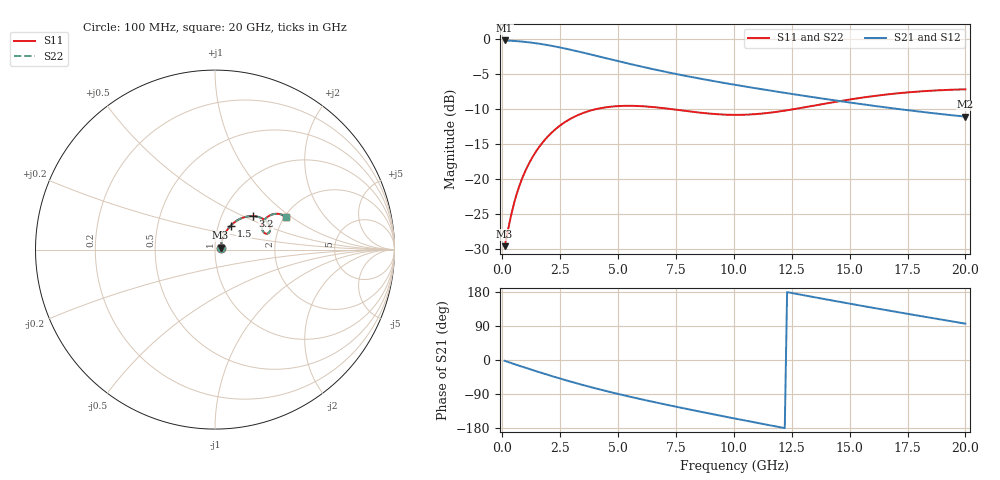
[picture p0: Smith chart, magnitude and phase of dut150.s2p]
! Touchstone file exported from HFSS 2024.1.0
!  File:  C:/UserFiles/LocalFiles/RDL_TSV_Batchsim/temp_RDL_TSV_150_1779431696.aedt
!  Generated:  02:52:28 PM May 22, 2026
!  Design:  RDL_TSV
!  Project:  temp_RDL_TSV_150_1779431696
!  Setup:  Setup1
!  Solution:  Sweep
! Variables:
!  dtsv = 5.22um
!  hbump = 3um
!  htsv = 83.34um
!  ldown = 608.21um
!  lrdl = 509.96um
!  p = 40
!  p1 = 48.1um
!  rhole = 10um
!  subl = 3864.47um
!  t = 450um
!  tdown = 2.41um
!  trdl = 3.51um
!  viad = 10um
!  wdown = 23.12um
!  wrdl = 11.4um
!  xbump = 18um
# GHz S MA R 50.000000
! Terminal data exported
! Port[1] = TM1_1_T1
! Port[2] = TM1_4_T1
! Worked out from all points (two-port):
!   200 points, 100 MHz to 20 GHz, reference 50 ohm
!   highest |S21| = -0.27 dB at 100 MHz (marker M1); lowest = -11.1 dB at 20 GHz (marker M2)
!   |S21| within 3 dB of the highest: start of sweep to 5.068 GHz
!   lowest |S11| = -29.6 dB at 100 MHz (marker M3), VSWR 1.07, Z = 53.2 + j1.2 ohm
!   |S11| at or under -10 dB: start of sweep to 4.147 GHz; 7.143 GHz to 12.73 GHz (5.586 GHz wide, 56.2 % of centre)
!   |S22| runs from -29.6 to -7.3 dB; largest |S21 - S12| = 1e-14
!   S11 on the Smith chart (normalised r, x): 100 MHz: 1.06, +0.02; 1.5 GHz: 1.15, +0.32; 3.2 GHz: 1.40, +0.57; 20 GHz: 2.04, +0.90
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0.1  0.03302 19.9  0.969 -2.1  0.969 -2.1  0.03302 19.9
! Gamma 0 0 0 0
! Port Impedance 50 0 50 0
0.4  0.05667 49.0  0.9641 -8.4  0.9641 -8.4  0.05667 49.0
0.7  0.08523 56.4  0.9561 -14.5  0.9561 -14.5  0.08522 56.4
1.1  0.1234 58.2  0.9418 -22.4  0.9418 -22.4  0.1234 58.2
1.5  0.1603 56.7  0.9235 -30.3  0.9235 -30.3  0.1603 56.7
1.9  0.1947 53.8  0.9014 -38.0  0.9014 -38.0  0.1947 53.8
2.3  0.2258 50.2  0.8764 -45.4  0.8764 -45.4  0.2258 50.2
2.7  0.2531 46.4  0.8494 -52.6  0.8494 -52.6  0.253 46.4
3.2  0.2812 41.6  0.8141 -61.3  0.8141 -61.3  0.2811 41.6
3.5  0.2948 38.8  0.7926 -66.3  0.7926 -66.3  0.2947 38.8
4.2  0.3175 32.7  0.7432 -77.5  0.7432 -77.5  0.3175 32.7
5.1  0.3304 26.0  0.684 -91.0  0.684 -91.0  0.3303 26.0
5.9  0.3299 21.5  0.6369 -102.2  0.6369 -102.2  0.3299 21.6
6.8  0.321 18.3  0.5905 -114.2  0.5905 -114.2  0.321 18.3
8.4  0.2979 17.3  0.5228 -134.5  0.5228 -134.5  0.298 17.3
10.1  0.2854 22.0  0.4661 -155.1  0.4661 -155.1  0.2856 22.0
11.7  0.2977 27.9  0.4221 -174.0  0.4221 -174.0  0.2979 27.9
13.4  0.3308 31.5  0.3822 166.5  0.3822 166.5  0.3309 31.5
15  0.3673 31.8  0.3498 148.7  0.3498 148.7  0.3673 31.7
16.7  0.4007 29.9  0.3204 130.3  0.3204 130.3  0.4006 29.9
18.3  0.4223 27.3  0.2974 113.5  0.2974 113.5  0.4221 27.3
20  0.4343 24.5  0.2773 95.9  0.2773 95.9  0.4339 24.5
